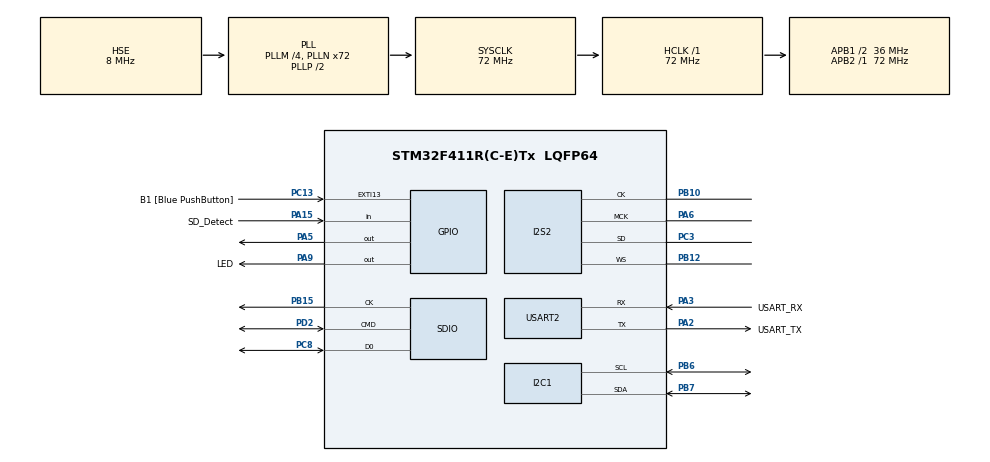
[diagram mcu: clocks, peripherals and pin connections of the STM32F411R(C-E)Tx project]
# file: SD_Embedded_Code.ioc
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Dma.Request0=SPI2_RX
Dma.SPI2_RX.0.Direction=DMA_PERIPH_TO_MEMORY
Dma.SPI2_RX.0.FIFOMode=DMA_FIFOMODE_DISABLE
Dma.SPI2_RX.0.Instance=DMA1_Stream3
Dma.SPI2_RX.0.MemDataAlignment=DMA_MDATAALIGN_HALFWORD
Dma.SPI2_RX.0.MemInc=DMA_MINC_ENABLE
Dma.SPI2_RX.0.Mode=DMA_CIRCULAR
Dma.SPI2_RX.0.PeriphDataAlignment=DMA_PDATAALIGN_HALFWORD
Dma.SPI2_RX.0.PeriphInc=DMA_PINC_DISABLE
Dma.SPI2_RX.0.Priority=DMA_PRIORITY_HIGH
FATFS.BSP.number=1
FATFS._USE_CHMOD=1
FATFS._USE_EXPAND=1
FATFS._USE_FIND=1
FATFS._USE_FORWARD=1
FATFS._USE_LABEL=1
FATFS0.BSP.STBoard=false
FATFS0.BSP.api=Unknown
FATFS0.BSP.instance=PA15
FATFS0.BSP.ip=GPIO
FATFS0.BSP.mode=Input
FATFS0.BSP.name=Detect_SDIO
FATFS0.BSP.solution=PA15
I2S2.AudioFreq=I2S_AUDIOFREQ_32K
I2S2.DataFormat=I2S_DATAFORMAT_24B
I2S2.ErrorAudioFreq=-2.34 %
I2S2.FullDuplexMode=I2S_FULLDUPLEXMODE_DISABLE
I2S2.Instance=SPI$Index
I2S2.Mode=I2S_MODE_MASTER_RX
I2S2.RealAudioFreq=31.25 KHz
I2S2.VirtualMode=I2S_MODE_MASTER
Mcu.Family=STM32F4
Mcu.Name=STM32F411R(C-E)Tx
Mcu.Package=LQFP64
NVIC.DMA1_Stream3_IRQn=true\:0\:0\:false\:false\:true\:false\:true\:true
NVIC.PriorityGroup=NVIC_PRIORITYGROUP_0
NVIC.SDIO_IRQn=true\:0\:0\:false\:false\:true\:true\:true\:true
NVIC.SPI2_IRQn=true\:0\:0\:false\:false\:true\:true\:true\:true
PA13.GPIO_Label=TMS
PA13.Mode=Trace_Asynchronous_SW
PA13.Signal=SYS_JTMS-SWDIO
PA14.GPIO_Label=TCK
PA14.Mode=Trace_Asynchronous_SW
PA14.Signal=SYS_JTCK-SWCLK
PA15.GPIO_Label=SD_Detect
PA15.Signal=GPIO_Input
PA2.GPIO_Label=USART_TX
PA2.Mode=Asynchronous
PA2.Signal=USART2_TX
PA3.GPIO_Label=USART_RX
PA3.Mode=Asynchronous
PA3.Signal=USART2_RX
PA5.Signal=GPIO_Output
PA6.Mode=Master_Clock_Activated
PA6.Signal=I2S2_MCK
PA9.GPIO_Label=LED
PA9.Signal=GPIO_Output
PB10.Mode=Half_Duplex_Master
PB10.Signal=I2S2_CK
PB12.Mode=Half_Duplex_Master
PB12.Signal=I2S2_WS
PB15.Mode=SD_1_bit
PB15.Signal=SDIO_CK
PB3.GPIO_Label=SWO
PB3.Mode=Trace_Asynchronous_SW
PB3.Signal=SYS_JTDO-SWO
PB6.Mode=I2C
PB6.Signal=I2C1_SCL
PB7.Mode=I2C
PB7.Signal=I2C1_SDA
PC13-ANTI_TAMP.GPIO_Label=B1 [Blue PushButton]
PC13-ANTI_TAMP.GPIO_ModeDefaultEXTI=GPIO_MODE_IT_FALLING
PC13-ANTI_TAMP.Signal=GPXTI13
PC14-OSC32_IN.Mode=LSE-External-Oscillator
PC14-OSC32_IN.Signal=RCC_OSC32_IN
PC15-OSC32_OUT.Mode=LSE-External-Oscillator
PC15-OSC32_OUT.Signal=RCC_OSC32_OUT
PC3.Mode=Half_Duplex_Master
PC3.Signal=I2S2_SD
PC8.Mode=SD_1_bit
PC8.Signal=SDIO_D0
PD2.Mode=SD_1_bit
PD2.Signal=SDIO_CMD
PH0\ -\ OSC_IN.Mode=HSE-External-Clock-Source
PH0\ -\ OSC_IN.Signal=RCC_OSC_IN
PH1\ -\ OSC_OUT.Mode=HSE-External-Clock-Source
PH1\ -\ OSC_OUT.Signal=RCC_OSC_OUT
ProjectManager.HeapSize=0x200
ProjectManager.StackSize=0x400
ProjectManager.TargetToolchain=STM32CubeIDE
RCC.48MHZClocksFreq_Value=48000000
RCC.AHBFreq_Value=72000000
RCC.APB1CLKDivider=RCC_HCLK_DIV2
RCC.APB1Freq_Value=36000000
RCC.APB1TimFreq_Value=72000000
RCC.APB2Freq_Value=72000000
RCC.APB2TimFreq_Value=72000000
RCC.CortexFreq_Value=72000000
RCC.FLatency-AdvancedSettings=FLASH_LATENCY_2
RCC.HCLKFreq_Value=72000000
RCC.HSE_VALUE=8000000
RCC.HSI_VALUE=16000000
RCC.PLLI2SM=8
RCC.PLLI2SN=160
RCC.PLLM=4
RCC.PLLN=72
RCC.PLLQ=3
RCC.PLLSourceVirtual=RCC_PLLSOURCE_HSE
RCC.SYSCLKFreq_VALUE=72000000
RCC.SYSCLKSource=RCC_SYSCLKSOURCE_PLLCLK
RCC.VCOOutputFreq_Value=144000000
USART2.VirtualMode=VM_ASYNC
VP_FATFS_VS_SDIO.Mode=SDIO
board=NUCLEO-F411RE

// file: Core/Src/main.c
/* USER CODE BEGIN Header */
/**
  ******************************************************************************
  * @file           : main.c
  * @brief          : Main program body
  ******************************************************************************
  * @attention
  *
  * Copyright (c) 2025 STMicroelectronics.
  * All rights reserved.
  *
  * This software is licensed under terms that can be found in the LICENSE file
  * in the root directory of this software component.
  * If no LICENSE file comes with this software, it is provided AS-IS.
  *
  ******************************************************************************
  */
/* USER CODE END Header */
#include "main.h"
#include "dma.h"
#include "fatfs.h"
#include "i2c.h"
#include "i2s.h"
#include "sdio.h"
#include "usart.h"
#include "gpio.h"

/* USER CODE BEGIN Includes */

#include "stdio.h"
/* USER CODE END Includes */

/* USER CODE BEGIN PTD */

typedef struct {
    uint16_t format;
    uint16_t channels;
    uint32_t frequency;
    uint32_t bytes_per_sec;
    uint16_t bytes_per_block;
    uint16_t bits_per_sample;
} fmt_typedef;

/* USER CODE END PTD */

/* USER CODE BEGIN PD */

#define SAMPLE_FREQ 96000

/* USER CODE END PD */

/* USER CODE BEGIN PV */

//uint8_t TxBuffer[] = "Hello World! From STM32 USB CDC Device To Virtual COM Port\r\n";
//uint8_t TxBufferLen = sizeof(TxBuffer);
//uint8_t ret;

//sample buffer
int16_t data_i2s[100];
volatile int16_t sample_i2s;

const char total_uptime_filename[] = "myfile.dat";

float amplifier = 0.5;

int8_t usart_rx_buffer[16];

int16_t *do_buffer;

uint32_t buffers_done;
uint32_t total_uptime;

uint8_t open_next_file = 1;

FRESULT res;
DIR dir;
FIL music_file;
FILINFO music_file_info;

/* USER CODE END PV */

void SystemClock_Config(void);

int main(void)
{

  /* MCU Configuration--------------------------------------------------------*/

  /* Reset of all peripherals, Initializes the Flash interface and the Systick. */
  HAL_Init();

  /* Configure the system clock */
  SystemClock_Config();

  /* Initialize all configured peripherals */
  MX_GPIO_Init();
  MX_DMA_Init();
  MX_USART2_UART_Init();
  MX_I2S2_Init();
  MX_SDIO_SD_Init();
  MX_FATFS_Init();
  MX_I2C1_Init();
  /* USER CODE BEGIN 2 */

  HAL_I2S_Receive_DMA(&hi2s2, (uint16_t*) data_i2s, sizeof(data_i2s)/2);

  uint32_t wbytes, rbytes;

  FRESULT fr;
  UINT bytes;

  HAL_Delay(20);

  fr = f_mount(&SDFatFS, SDPath, 1);
  if (fr != FR_OK) {
      printf("Unable to mount disk: %d\n", fr);
      Error_Handler();
  }

  fr = f_open(&SDFile, total_uptime_filename, FA_OPEN_ALWAYS | FA_READ | FA_WRITE);
  if (fr != FR_OK) {
      printf("Unable to open/create file: %d\n", fr);
      Error_Handler();
  }

  // Read existing uptime if the file has data
  fr = f_read(&SDFile, &total_uptime, sizeof(total_uptime), &bytes);
  if (fr != FR_OK || bytes != sizeof(total_uptime)) {
      total_uptime = 0;  // File empty or read failed
  }

  // Move file pointer to beginning before writing
  f_lseek(&SDFile, 0);

  // Write uptime back
  fr = f_write(&SDFile, &total_uptime, sizeof(total_uptime), &bytes);
  if (fr != FR_OK || bytes != sizeof(total_uptime)) {
      printf("Unable to write: %d\n", fr);
      Error_Handler();
  }

  f_close(&SDFile);

//  printf("SD Card Information");
//
//  if (f_mount(&SDFatFS, (TCHAR const*) SDPath, 0) != FR_OK) {
//          printf("Unable to mount disk\n");
//          Error_Handler();
//  }
//
//  HAL_Delay(20);
//
//  if (f_open(&SDFile, total_uptime_filename, FA_OPEN_ALWAYS | FA_READ) == FR_OK) {
//      if (f_read(&SDFile, &total_uptime, sizeof(total_uptime), (void*) &rbytes) == FR_OK) {
//          printf("Total uptime = %lu\n", total_uptime);
//          f_close(&SDFile);
//      } else {
//          printf("Unable to read\n");
//          Error_Handler();
//      }
//  } else {
//      // File did not exist - let's create it
//      if (f_open(&SDFile, total_uptime_filename, FA_CREATE_ALWAYS | FA_WRITE) == FR_OK) {
//          if (f_write(&SDFile, &total_uptime, sizeof(total_uptime), (void*) &wbytes) == FR_OK) {
//              printf("File %s created\n", total_uptime_filename);
//              f_close(&SDFile);
//          } else {
//              printf("Unable to write\n");
//              Error_Handler();
//          }
//      } else {
//    	  FRESULT fr = f_open(&SDFile, total_uptime_filename, FA_CREATE_ALWAYS | FA_WRITE);
//          printf("Unable to create\n");
//          Error_Handler();
//      }
//  }

  uint32_t now = 0, next_blink = 500, next_tick = 1000, loop_cnt = 0;

  /* USER CODE END 2 */

  /* Infinite loop */
  /* USER CODE BEGIN WHILE */
  while (1)
  {

      now = uwTick;
      HAL_GPIO_TogglePin(GPIOA, GPIO_PIN_9);

      if (now >= next_blink) {

          HAL_GPIO_TogglePin(GPIOB, LED_Pin);

          next_blink = now + 500;
      }

      if (now >= next_tick) {

          //printf("Tick %lu (loop=%lu bd=%lu)\n", now / 1000, loop_cnt, buffers_done);

          if (((now / 1000) % 60) == 0) {

              ++total_uptime;

              printf("Updating total uptime to %lu minutes\n", total_uptime);

              // Update the total uptime file
              if (f_open(&SDFile, total_uptime_filename, FA_OPEN_EXISTING | FA_WRITE) == FR_OK) {
                  if (f_write(&SDFile, &total_uptime, sizeof(total_uptime), (void*) &wbytes) != FR_OK) {
                      printf("Unable to write\n");
                  }
                  f_close(&SDFile);
              } else {
                  printf("Unable to open file\n");
              }

          }

          open_next_file = 0;

          loop_cnt = 0;
          next_tick = now + 1000;

      }

      //this is a bunch of stuff from the guys example
//      if (open_next_file) {
//
//          f_close(&music_file);
//
//          // Experimental advance to next
//          res = f_findnext(&dir, &music_file_info);
//
//          if (res != FR_OK || music_file_info.fname[0] == '\0') { // If we're out of files start again
//              res = f_findfirst(&dir, &music_file_info, "", "*.wav");
//          }
//
//          printf("Next file: %s\n", music_file_info.fname);
//
//          if (f_open(&music_file, music_file_info.fname, FA_READ) != FR_OK) {
//              printf("Unable to open %s\n", music_file_info.fname);
//          }
//
//          fmt_typedef wav_format;
//
//          if (parse_wav_header(&music_file, &wav_format) != FR_OK) {
//              printf("Unable to parse header\n");
//              open_next_file = 1;
//          } else {
//
//              printf("Wav format: %d\n", wav_format.format);
//              printf("Wav channels: %d\n", wav_format.channels);
//              printf("Wav frequency: %lu\n", wav_format.frequency);
//              printf("Wav bytes per sec: %lu\n", wav_format.bytes_per_sec);
//              printf("Wav bytes per block: %d\n", wav_format.bytes_per_block);
//              printf("Wav bits per sample: %d\n", wav_format.bits_per_sample);
//
//              set_i2s_freq(wav_format.frequency);
//
//              open_next_file = 0;
//          }
//
//      }
      //i think this code is also music related
//
//      if (do_buffer) {
//
//          process_buffer(do_buffer);
//
//          ++buffers_done;
//          do_buffer = 0;
//      }

      ++loop_cnt;

    /* USER CODE END WHILE */

  }
}

void SystemClock_Config(void)
{
  RCC_OscInitTypeDef RCC_OscInitStruct = {0};
  RCC_ClkInitTypeDef RCC_ClkInitStruct = {0};

  /** Configure the main internal regulator output voltage
  */
  __HAL_RCC_PWR_CLK_ENABLE();
  __HAL_PWR_VOLTAGESCALING_CONFIG(PWR_REGULATOR_VOLTAGE_SCALE1);

  /** Initializes the RCC Oscillators according to the specified parameters
  * in the RCC_OscInitTypeDef structure.
  */
  RCC_OscInitStruct.OscillatorType = RCC_OSCILLATORTYPE_HSE;
  RCC_OscInitStruct.HSEState = RCC_HSE_BYPASS;
  RCC_OscInitStruct.PLL.PLLState = RCC_PLL_ON;
  RCC_OscInitStruct.PLL.PLLSource = RCC_PLLSOURCE_HSE;
  RCC_OscInitStruct.PLL.PLLM = 4;
  RCC_OscInitStruct.PLL.PLLN = 72;
  RCC_OscInitStruct.PLL.PLLP = RCC_PLLP_DIV2;
  RCC_OscInitStruct.PLL.PLLQ = 3;
  if (HAL_RCC_OscConfig(&RCC_OscInitStruct) != HAL_OK)
  {
    Error_Handler();
  }

  /** Initializes the CPU, AHB and APB buses clocks
  */
  RCC_ClkInitStruct.ClockType = RCC_CLOCKTYPE_HCLK|RCC_CLOCKTYPE_SYSCLK
                              |RCC_CLOCKTYPE_PCLK1|RCC_CLOCKTYPE_PCLK2;
  RCC_ClkInitStruct.SYSCLKSource = RCC_SYSCLKSOURCE_PLLCLK;
  RCC_ClkInitStruct.AHBCLKDivider = RCC_SYSCLK_DIV1;
  RCC_ClkInitStruct.APB1CLKDivider = RCC_HCLK_DIV2;
  RCC_ClkInitStruct.APB2CLKDivider = RCC_HCLK_DIV1;

  if (HAL_RCC_ClockConfig(&RCC_ClkInitStruct, FLASH_LATENCY_2) != HAL_OK)
  {
    Error_Handler();
  }
}

/* USER CODE BEGIN 4 */

int _write(int file, char *ptr, int len){
	int DataIdx;

	for(DataIdx = 0; DataIdx < len; DataIdx++){
		ITM_SendChar(*ptr++);
	}
	return len;
}

void HAL_I2S_RxCpltCallback(I2S_HandleTypeDef *hi2s){

	sample_i2s = data_i2s[1];
}

//
//void process_buffer(int16_t *target_buffer) {
//
//    int16_t buf[2 * I2S_DMA_BUFFER_SAMPLES] = { 0 };
//    unsigned int bytes_read = 0;
//
//    if (f_read(&music_file, &buf, sizeof(buf), &bytes_read) == FR_OK) {
//
//        for (int i = 0; i < 2 * I2S_DMA_BUFFER_SAMPLES; ++i) {
//            buf[i] = buf[i] * amplifier;
//        }
//
//        memcpy(target_buffer, buf, sizeof(buf));
//
//        if (bytes_read < sizeof(buf)) {
//
//            printf("File done!\n");
//
//            set_i2s_freq(0);
//
//            open_next_file = 1;
//        }
//
//    }
//
//}

void print_fresult(FRESULT fr) {
    switch (fr) {
    case FR_OK:            printf("FR_OK\n"); break;
    case FR_DISK_ERR:      printf("FR_DISK_ERR (1): Low-level read/write failure\n"); break;
    case FR_INT_ERR:       printf("FR_INT_ERR (2): Assertion/internal consistency error\n"); break;
    case FR_NOT_READY:     printf("FR_NOT_READY (3): Disk not ready\n"); break;
    case FR_NO_FILE:       printf("FR_NO_FILE (4)\n"); break;
    case FR_NO_PATH:       printf("FR_NO_PATH (5)\n"); break;
    case FR_INVALID_NAME:  printf("FR_INVALID_NAME (6)\n"); break;
    case FR_DENIED:        printf("FR_DENIED (7)\n"); break;
    case FR_EXIST:         printf("FR_EXIST (8)\n"); break;
    case FR_INVALID_OBJECT:printf("FR_INVALID_OBJECT (9)\n"); break;
    case FR_WRITE_PROTECTED: printf("FR_WRITE_PROTECTED (10)\n"); break;
    case FR_INVALID_DRIVE: printf("FR_INVALID_DRIVE (11)\n"); break;
    case FR_NOT_ENABLED:   printf("FR_NOT_ENABLED (12)\n"); break;
    case FR_NO_FILESYSTEM: printf("FR_NO_FILESYSTEM (13)\n"); break;
    case FR_MKFS_ABORTED:  printf("FR_MKFS_ABORTED (14)\n"); break;
    case FR_TIMEOUT:       printf("FR_TIMEOUT (15)\n"); break;
    case FR_LOCKED:        printf("FR_LOCKED (16)\n"); break;
    case FR_NOT_ENOUGH_CORE: printf("FR_NOT_ENOUGH_CORE (17)\n"); break;
    case FR_TOO_MANY_OPEN_FILES: printf("FR_TOO_MANY_OPEN_FILES (18)\n"); break;
    case FR_INVALID_PARAMETER: printf("FR_INVALID_PARAMETER (19)\n"); break;
    default: printf("Unknown error: %d\n", fr);
    }
}

/* USER CODE END 4 */

void Error_Handler(void)
{
  __disable_irq();
  while (1)
  {
  }
}
